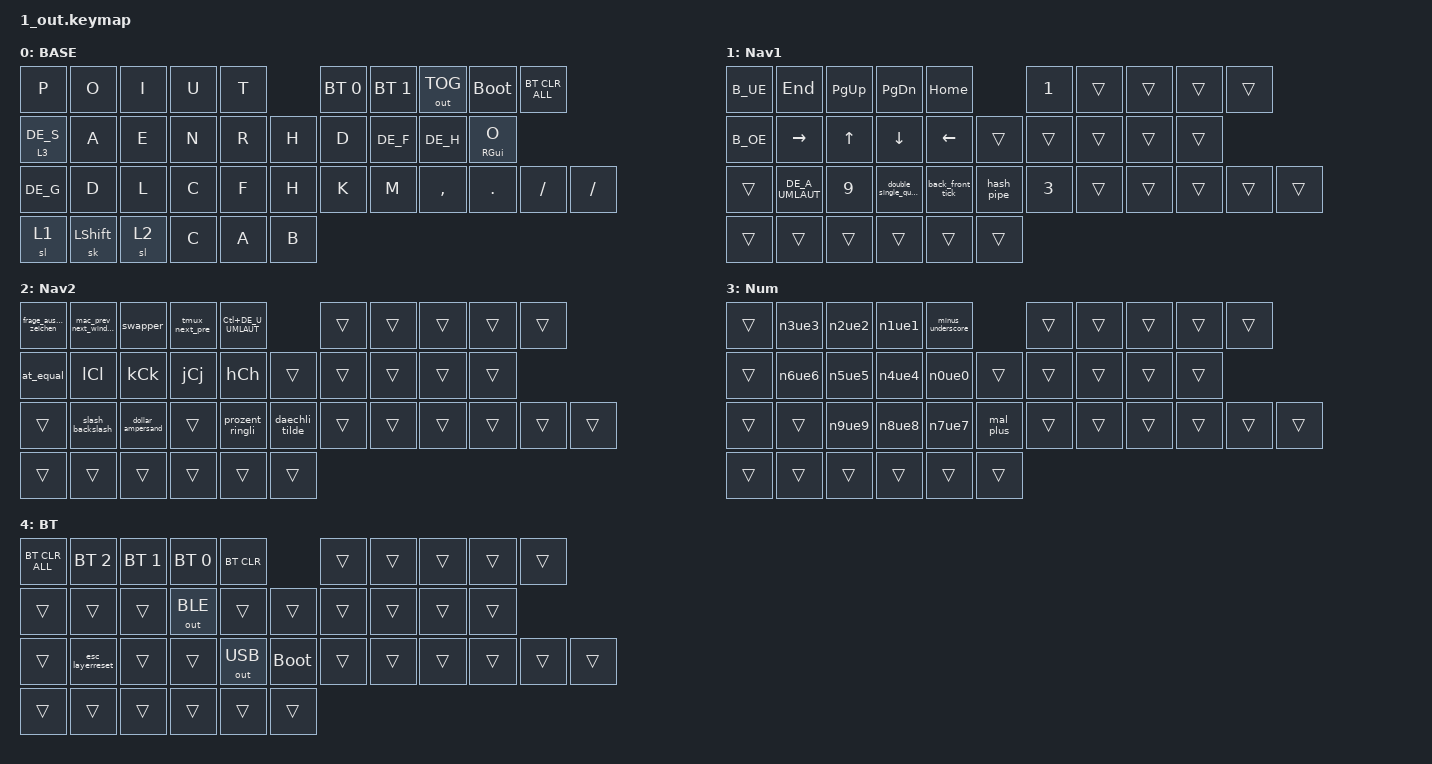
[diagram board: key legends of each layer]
#include "keys_de_swiss.h"
#include <behaviors.dtsi>
#include <dt-bindings/zmk/bt.h>
#include <dt-bindings/zmk/keys.h>
#include <dt-bindings/zmk/outputs.h>

&default_transform { col-offset = <0>; };

#define BASE 0
#define NAV  1
#define SYM  2
#define ADJ  3

&mt {
    quick-tap-ms = <100>;
    global-quick-tap;
    flavor = "tap-preferred";
    tapping-term-ms = <170>;
};

/ {
    combos {
        compatible = "zmk,combos";

        // BEGIN combos
        horizontal_ltr_0_0 {
            bindings = <&kp DE_X>;
            key-positions = <0 1>;
            layers = <0>;
        };

        horizontal_ltr_0_1 {
            bindings = <&kp DE_W>;
            key-positions = <1 2>;
            layers = <0>;
        };

        horizontal_ltr_1_0 {
            bindings = <&kp DE_Q>;
            key-positions = <10 11>;
            layers = <0>;
        };

        horizontal_ltr_1_1 {
            bindings = <&kp TAB>;
            key-positions = <11 12>;
            layers = <0>;
        };

        horizontal_ltr_1_3 {
            bindings = <&kp DE_G>;
            key-positions = <13 14>;
            layers = <0>;
        };

        horizontal_ltr_2_1 {
            bindings = <&kp DE_Y>;
            key-positions = <21 22>;
            layers = <0>;
        };

        horizontal_ltr_2_2 {
            bindings = <&kp DE_K>;
            key-positions = <22 23>;
            layers = <0>;
        };

        horizontal_rtl_0_3 {
            bindings = <&kp DE_M>;
            key-positions = <3 2>;
            layers = <0>;
        };

        horizontal_rtl_0_4 {
            bindings = <&kp DE_Z>;
            key-positions = <4 3>;
            layers = <0>;
        };

        horizontal_rtl_1_3 {
            bindings = <&kp DE_V>;
            key-positions = <13 12>;
            layers = <0>;
        };

        horizontal_rtl_2_4 {
            bindings = <&kp DE_J>;
            key-positions = <24 23>;
            layers = <0>;
        };

        horizontal_rtl_2_5 {
            bindings = <&kp DE_B>;
            key-positions = <25 24>;
            layers = <0>;
        };

        vertical_0_0 {
            bindings = <&backspace_delete>;
            key-positions = <0 10>;
            layers = <0>;
        };

        vertical_0_1 {
            bindings = <&round_brackets>;
            key-positions = <1 11>;
            layers = <0>;
        };

        vertical_0_2 {
            bindings = <&esc_layerreset>;
            key-positions = <2 12>;
            layers = <0>;
        };

        vertical_0_3 {
            bindings = <&sk LEFT_ALT>;
            key-positions = <3 13>;
            layers = <0>;
        };

        vertical_0_4 {
            bindings = <&sk LEFT_GUI>;
            key-positions = <4 14>;
            layers = <0>;
        };

        diagonal_down_right_0_2 {
            bindings = <&punkt_doppelpunkt>;
            key-positions = <2 13>;
            layers = <0>;
        };

        diagonal_down_right_1_0 {
            bindings = <&kp ENTER>;
            key-positions = <10 21>;
            layers = <0>;
        };

        diagonal_down_right_1_1 {
            bindings = <&square_brackets>;
            key-positions = <11 22>;
            layers = <0>;
        };

        diagonal_down_right_1_3 {
            bindings = <&caps_word>;
            key-positions = <13 24>;
            layers = <0>;
        };

        diagonal_down_right_1_4 {
            bindings = <&sk LCTRL>;
            key-positions = <14 25>;
            layers = <0>;
        };

        diagonal_down_right_reverse_1_4 {
            bindings = <&curly_brackets>;
            key-positions = <14 3>;
            layers = <0>;
        };

        diagonal_down_right_reverse_2_3 {
            bindings = <&kp SPACE>;
            key-positions = <23 12>;
            layers = <0>;
        };

        angled_brackets {
            bindings = <&angled_brackets>;
            key-positions = <25 13>;
            layers = <0>;
        };

        komma_strichpunkt {
            bindings = <&komma_strickpunkt>;
            key-positions = <24 12>;
            layers = <0>;
        };

        toBT {
            bindings = <&to 4>;
            key-positions = <1 2 3 4>;
            layers = <0>;
        };

        ae {
            bindings = <&M_UPPER_AEOEUE DE_A_UMLAUT>;
            key-positions = <33 21 32>;
            layers = <0>;
        };
        // END combos
    };

    macros {
        // BEGIN macros
        esc_layerreset: esc_layerreset {
            compatible = "zmk,behavior-macro";
            #binding-cells = <0>;
            bindings = <&kp ESCAPE &to 0>;
        };

        daechli: daechli {
            compatible = "zmk,behavior-macro";
            #binding-cells = <0>;
            bindings = <&kp DE_CARET &kp SPACE>;
        };

        tilde: tilde {
            compatible = "zmk,behavior-macro";
            #binding-cells = <0>;
            bindings = <&kp LA(DE_N) &kp SPACE>;
        };

        M_UPPER_AEOEUE: AE {
            compatible = "zmk,behavior-macro-one-param";
            #binding-cells = <1>;
            bindings =
                <&kp CAPSLOCK>,
                <&macro_pause_for_release>,
                <&macro_param_1to1>,
                <&kp MACRO_PLACEHOLDER>,
                <&kp CAPSLOCK>;
            wait-ms = <80>;
            tap-ms = <80>;
        };

        M_UE: UE {
            compatible = "zmk,behavior-macro";
            #binding-cells = <0>;
            bindings = <&kp CAPSLOCK &kp DE_U_UMLAUT &kp CAPSLOCK>;
            wait-ms = <20>;
            tap-ms = <20>;
        };

        M_OE: M_OE {
            compatible = "zmk,behavior-macro";
            #binding-cells = <0>;
            bindings = <&kp CAPSLOCK &kp DE_O_UMLAUT &kp CAPSLOCK>;
            wait-ms = <100>;
            tap-ms = <100>;
        };

        backtick_macro: backtick_macro {
            compatible = "zmk,behavior-macro";
            #binding-cells = <0>;
            bindings = <&kp DE_GRAVE &kp SPACE>;
        };

        fronttick_macro: fronttick_macro {
            compatible = "zmk,behavior-macro";
            #binding-cells = <0>;
            bindings = <&kp RA(EQUAL) &kp SPACE>;
        };

        ue1: ue1 {
            compatible = "zmk,behavior-macro";
            #binding-cells = <0>;
            bindings = <&kp DE_U_UMLAUT &kp DE_N1>;
        };

        ue2: ue2 {
            compatible = "zmk,behavior-macro";
            #binding-cells = <0>;
            bindings = <&kp DE_U_UMLAUT &kp DE_N2>;
        };

        ue3: ue3 {
            compatible = "zmk,behavior-macro";
            #binding-cells = <0>;
            bindings = <&kp DE_U_UMLAUT &kp DE_N3>;
        };

        ue4: ue4 {
            compatible = "zmk,behavior-macro";
            #binding-cells = <0>;
            bindings = <&kp DE_U_UMLAUT &kp DE_N4>;
        };

        ue5: ue5 {
            compatible = "zmk,behavior-macro";
            #binding-cells = <0>;
            bindings = <&kp DE_U_UMLAUT &kp DE_N5>;
        };

        ue6: ue6 {
            compatible = "zmk,behavior-macro";
            #binding-cells = <0>;
            bindings = <&kp DE_U_UMLAUT &kp DE_N6>;
        };

        ue7: ue7 {
            compatible = "zmk,behavior-macro";
            #binding-cells = <0>;
            bindings = <&kp DE_U_UMLAUT &kp DE_N7>;
        };

        ue8: ue8 {
            compatible = "zmk,behavior-macro";
            #binding-cells = <0>;
            bindings = <&kp DE_U_UMLAUT &kp DE_N8>;
        };

        ue9: ue9 {
            compatible = "zmk,behavior-macro";
            #binding-cells = <0>;
            bindings = <&kp DE_U_UMLAUT &kp DE_N9>;
        };

        ue0: ue0 {
            compatible = "zmk,behavior-macro";
            #binding-cells = <0>;
            bindings = <&kp DE_U_UMLAUT &kp DE_N0>;
        };

        tmux_next_window: tmux_next {
            compatible = "zmk,behavior-macro";
            #binding-cells = <0>;
            bindings = <&kp DE_U_UMLAUT &kp DE_N>;
        };

        tmux_prev_window: tmux_prev {
            compatible = "zmk,behavior-macro";
            #binding-cells = <0>;
            bindings = <&kp DE_U_UMLAUT &kp DE_P>;
        };
        // END macros
    };

    behaviors {
        // BEGIN behaviors
        square_brackets: square_brackets {
            compatible = "zmk,behavior-mod-morph";
            bindings = <&kp LA(DE_N5)>, <&kp LA(DE_N6)>;

            #binding-cells = <0>;
            mods = <(MOD_LSFT)>;
        };

        round_brackets: round_brackets {
            compatible = "zmk,behavior-mod-morph";
            bindings = <&kp LS(DE_N8)>, <&kp LS(DE_N9)>;

            #binding-cells = <0>;
            mods = <(MOD_LSFT)>;
        };

        angled_brackets: angled_brackets {
            compatible = "zmk,behavior-mod-morph";
            bindings = <&kp DE_LESS_THAN>, <&kp DE_GREATER_THAN>;

            #binding-cells = <0>;
            mods = <(MOD_LSFT)>;
        };

        curly_brackets: curly_brackets {
            compatible = "zmk,behavior-mod-morph";
            bindings = <&kp LA(DE_N8)>, <&kp LA(DE_N9)>;

            #binding-cells = <0>;
            mods = <(MOD_LSFT)>;
        };

        backspace_delete: backspace_delete {
            compatible = "zmk,behavior-mod-morph";
            bindings = <&kp BACKSPACE>, <&kp DELETE>;

            #binding-cells = <0>;
            mods = <(MOD_LSFT)>;
        };

        double_single_quote: double_single_quote {
            compatible = "zmk,behavior-mod-morph";
            bindings = <&kp DE_DOUBLE_QUOTES>, <&kp MINUS>;

            #binding-cells = <0>;
            mods = <(MOD_LSFT)>;
        };

        back_front_tick: back_front_tick {
            compatible = "zmk,behavior-mod-morph";
            bindings = <&backtick_macro>, <&fronttick_macro>;

            #binding-cells = <0>;
            mods = <(MOD_LSFT)>;
        };

        punkt_doppelpunkt: punkt_doppelpunkt {
            compatible = "zmk,behavior-mod-morph";
            bindings = <&kp DE_DOT>, <&kp DE_COLON>;

            #binding-cells = <0>;
            mods = <(MOD_LSFT)>;
        };

        komma_strickpunkt: komma_strickpunkt {
            compatible = "zmk,behavior-mod-morph";
            bindings = <&kp DE_COMMA>, <&kp DE_SEMICOLON>;

            #binding-cells = <0>;
            mods = <(MOD_LSFT)>;
        };

        frage_ausrufe_zeichen: frage_ausrufe_zeichen {
            compatible = "zmk,behavior-mod-morph";
            bindings = <&kp DE_QUESTION>, <&kp DE_EXCLAMATION>;

            #binding-cells = <0>;
            mods = <(MOD_LSFT)>;
        };

        daechli_tilde: daechli_tilde {
            compatible = "zmk,behavior-mod-morph";
            bindings = <&daechli>, <&tilde>;

            #binding-cells = <0>;
            mods = <(MOD_LSFT)>;
        };

        prozent_ringli: prozent_ringli {
            compatible = "zmk,behavior-mod-morph";
            bindings = <&kp DE_PERCENT>, <&kp LS(NON_US_BSLH)>;

            #binding-cells = <0>;
            mods = <(MOD_LSFT)>;
        };

        hash_pipe: hash_pipe {
            compatible = "zmk,behavior-mod-morph";
            bindings = <&kp DE_HASH>, <&kp DE_PIPE>;

            #binding-cells = <0>;
            mods = <(MOD_LSFT)>;
        };

        at_equal: at_equal {
            compatible = "zmk,behavior-mod-morph";
            bindings = <&kp LA(DE_G)>, <&kp DE_EQUAL>;

            #binding-cells = <0>;
            mods = <(MOD_LSFT)>;
        };

        dollar_ampersand: dollar_ampersand {
            compatible = "zmk,behavior-mod-morph";
            bindings = <&kp DE_DOLLAR>, <&kp DE_AMPERSAND>;

            #binding-cells = <0>;
            mods = <(MOD_LSFT)>;
        };

        slash_backslash: slash_backslash {
            compatible = "zmk,behavior-mod-morph";
            bindings = <&kp DE_SLASH>, <&kp LS(LA(DE_N7))>;

            #binding-cells = <0>;
            mods = <(MOD_LSFT)>;
        };

        mal_plus: mal_plus {
            compatible = "zmk,behavior-mod-morph";
            bindings = <&kp DE_ASTERISK>, <&kp DE_PLUS>;

            #binding-cells = <0>;
            mods = <(MOD_LSFT)>;
        };

        minus_underscore: minus_underscore {
            compatible = "zmk,behavior-mod-morph";
            bindings = <&kp DE_MINUS>, <&kp DE_UNDER>;

            #binding-cells = <0>;
            mods = <(MOD_LSFT)>;
        };

        B_AE: B_AE {
            compatible = "zmk,behavior-mod-morph";
            bindings = <&kp DE_A_UMLAUT>, <&M_UPPER_AEOEUE DE_A_UMLAUT>;

            #binding-cells = <0>;
            mods = <(MOD_LSFT)>;
        };

        B_UE: B_UE {
            compatible = "zmk,behavior-mod-morph";
            bindings = <&kp DE_U_UMLAUT>, <&M_UE>;

            #binding-cells = <0>;
            mods = <(MOD_LSFT)>;
        };

        B_OE: B_OE {
            compatible = "zmk,behavior-mod-morph";
            bindings = <&kp DE_O_UMLAUT>, <&M_OE>;

            #binding-cells = <0>;
            mods = <(MOD_LSFT)>;
        };

        hCh: hCh {
            compatible = "zmk,behavior-mod-morph";
            bindings = <&kp DE_H>, <&kp LC(DE_H)>;

            #binding-cells = <0>;
            mods = <(MOD_LSFT)>;
        };

        jCj: jCj {
            compatible = "zmk,behavior-mod-morph";
            bindings = <&kp DE_J>, <&kp LC(DE_J)>;

            #binding-cells = <0>;
            mods = <(MOD_LSFT)>;
        };

        kCk: kCk {
            compatible = "zmk,behavior-mod-morph";
            bindings = <&kp DE_K>, <&kp LC(DE_K)>;

            #binding-cells = <0>;
            mods = <(MOD_LSFT)>;
        };

        lCl: lCl {
            compatible = "zmk,behavior-mod-morph";
            bindings = <&kp DE_L>, <&kp LC(DE_L)>;

            #binding-cells = <0>;
            mods = <(MOD_LSFT)>;
        };

        n0ue0: n0ue0 {
            compatible = "zmk,behavior-mod-morph";
            bindings = <&kp DE_N0>, <&ue0>;

            #binding-cells = <0>;
            mods = <(MOD_LSFT)>;
        };

        n1ue1: n1ue1 {
            compatible = "zmk,behavior-mod-morph";
            bindings = <&kp DE_N1>, <&ue1>;

            #binding-cells = <0>;
            mods = <(MOD_LSFT)>;
        };

        n2ue2: n2ue2 {
            compatible = "zmk,behavior-mod-morph";
            bindings = <&kp DE_N2>, <&ue2>;

            #binding-cells = <0>;
            mods = <(MOD_LSFT)>;
        };

        n3ue3: n3ue3 {
            compatible = "zmk,behavior-mod-morph";
            bindings = <&kp DE_N3>, <&ue3>;

            #binding-cells = <0>;
            mods = <(MOD_LSFT)>;
        };

        n4ue4: n4ue4 {
            compatible = "zmk,behavior-mod-morph";
            bindings = <&kp DE_N4>, <&ue4>;

            #binding-cells = <0>;
            mods = <(MOD_LSFT)>;
        };

        n5ue5: n5ue5 {
            compatible = "zmk,behavior-mod-morph";
            bindings = <&kp DE_N5>, <&ue5>;

            #binding-cells = <0>;
            mods = <(MOD_LSFT)>;
        };

        n6ue6: n6ue6 {
            compatible = "zmk,behavior-mod-morph";
            bindings = <&kp DE_N6>, <&ue6>;

            #binding-cells = <0>;
            mods = <(MOD_LSFT)>;
        };

        n7ue7: n7ue7 {
            compatible = "zmk,behavior-mod-morph";
            bindings = <&kp DE_N7>, <&ue7>;

            #binding-cells = <0>;
            mods = <(MOD_LSFT)>;
        };

        n8ue8: n8ue8 {
            compatible = "zmk,behavior-mod-morph";
            bindings = <&kp DE_N8>, <&ue8>;

            #binding-cells = <0>;
            mods = <(MOD_LSFT)>;
        };

        n9ue9: n9ue9 {
            compatible = "zmk,behavior-mod-morph";
            bindings = <&kp DE_N9>, <&ue9>;

            #binding-cells = <0>;
            mods = <(MOD_LSFT)>;
        };

        tmux_next_pre: tmux_next_pre {
            compatible = "zmk,behavior-mod-morph";
            bindings = <&tmux_next_window>, <&tmux_prev_window>;

            #binding-cells = <0>;
            mods = <(MOD_LSFT)>;
        };

        mac_next_prev_app: mac_next_prev_app {
            compatible = "zmk,behavior-mod-morph";
            bindings = <&kp LG(TAB)>, <&kp LG(LS(TAB))>;

            #binding-cells = <0>;
            mods = <(MOD_LSFT)>;
        };

        mac_prev_next_window: mac_prev_next_window {
            compatible = "zmk,behavior-mod-morph";
            bindings = <&kp LC(F9)>, <&kp LS(LC(F9))>;

            #binding-cells = <0>;
            mods = <(MOD_LSFT)>;
        };

        swapper: swapper {
            compatible = "zmk,behavior-smart-toggle";
            #binding-cells = <0>;
            bindings = <&kp LGUI>, <&kp TAB>;

            ignored-key-positions = <33>;
        };
        // END behaviors
    };

    keymap {
        compatible = "zmk,keymap";


        // BEGIN keymap
        BASE {
            display-name = "BASE";
            bindings = <
&kp P &kp O &kp I &kp U &kp T &bt BT_SEL 0 &bt BT_SEL 1 &out OUT_TOG &bootloader &bt BT_CLR_ALL
&lt 3 DE_S &kp A &kp E &kp N &kp R &kp H &kp D &kp DE_F &kp DE_H &mt RGUI O
&kp DE_G &kp D &kp L &kp C &kp F &kp H &kp K &kp M &kp COMMA &kp DOT &kp FSLH &kp FSLH
&sl 1 &sk LEFT_SHIFT &sl 2 &kp C &kp A &kp B
            >;
        };

        Nav1 {
            display-name = "Nav1";
            bindings = <
&B_UE &kp END &kp PG_UP &kp PG_DN &kp HOME &kp N1 &trans &trans &trans &trans
&B_OE &kp RIGHT_ARROW &kp UP &kp DOWN &kp LEFT_ARROW &trans &trans &trans &trans &trans
&trans &kp DE_A_UMLAUT &kp N9 &kp double_single_quote &kp back_front_tick &kp hash_pipe &kp N3 &trans &trans &trans &trans &trans
&trans &trans &trans &trans &trans &trans
            >;
        };

        Nav2 {
            display-name = "Nav2";
            bindings = <
&frage_ausrufe_zeichen &mac_prev_next_window &swapper &tmux_next_pre &kp LC(DE_U_UMLAUT) &trans &trans &trans &trans &trans
&at_equal &lCl &kCk &jCj &hCh &trans &trans &trans &trans &trans
&trans &slash_backslash &dollar_ampersand &trans &prozent_ringli &daechli_tilde &trans &trans &trans &trans &trans &trans
&trans &trans &trans &trans &trans &trans
            >;
        };

        Num {
            display-name = "Num";
            bindings = <
&trans &n3ue3 &n2ue2 &n1ue1 &minus_underscore &trans &trans &trans &trans &trans
&trans &n6ue6 &n5ue5 &n4ue4 &n0ue0 &trans &trans &trans &trans &trans
&trans &trans &n9ue9 &n8ue8 &n7ue7 &mal_plus &trans &trans &trans &trans &trans &trans
&trans &trans &trans &trans &trans &trans
            >;
        };

        BT {
            display-name = "BT";
            bindings = <
&bt BT_CLR_ALL &bt BT_SEL 2 &bt BT_SEL 1 &bt BT_SEL 0 &bt BT_CLR &trans &trans &trans &trans &trans
&trans &trans &trans &out OUT_BLE &trans &trans &trans &trans &trans &trans
&trans &esc_layerreset &trans &trans &out OUT_USB &bootloader &trans &trans &trans &trans &trans &trans
&trans &trans &trans &trans &trans &trans
            >;
        };
        // END keymap
    };

    conditional_layers {
        compatible = "zmk,conditional-layers";

        BT {
            if-layers = <1 2>;
            then-layer = <4>;
        };
    };
};

